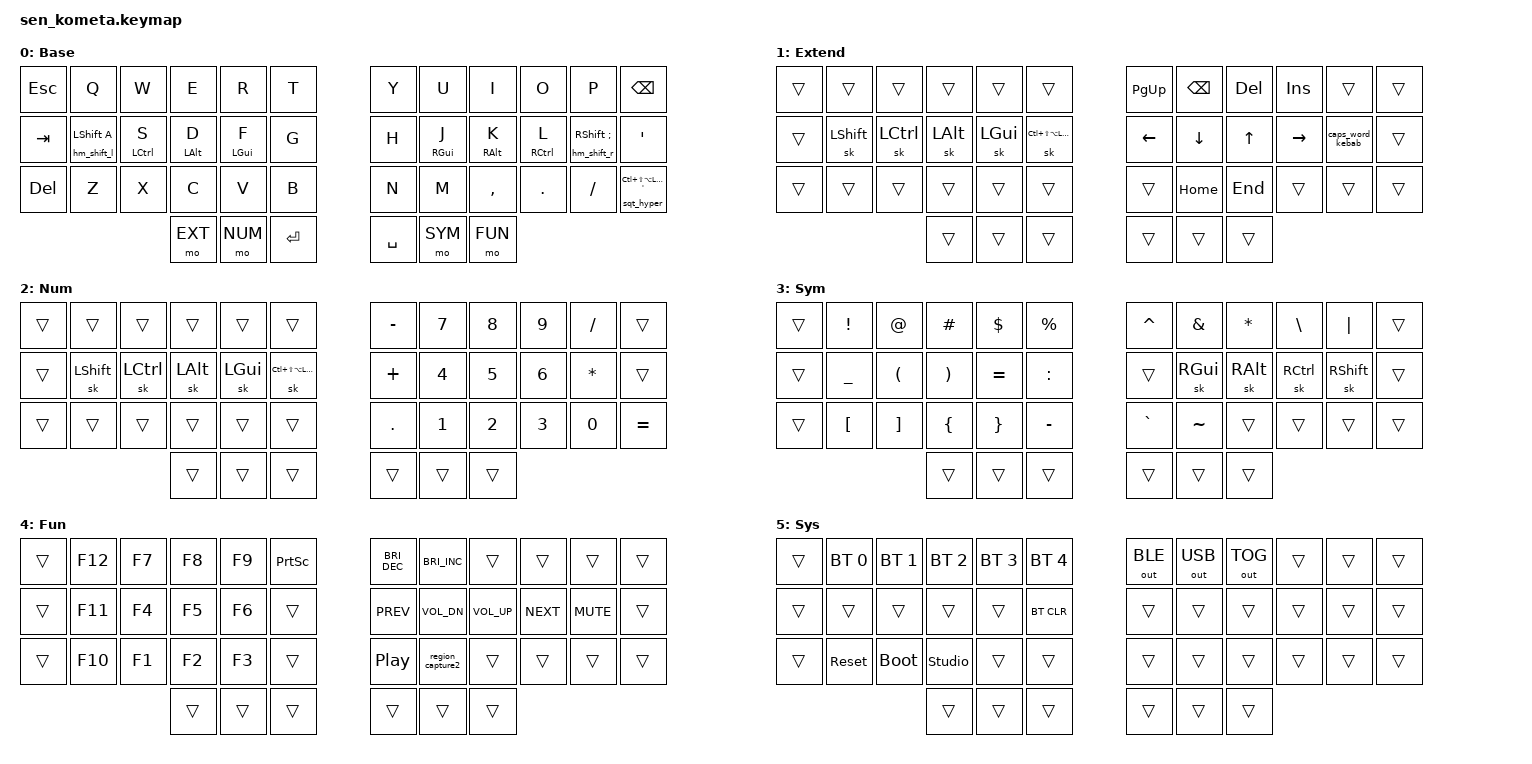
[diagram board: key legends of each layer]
/*
 * Variant B — "seniply-core" (kometa, 42-key grid)
 *
 * Identical scheme to sen_totem.keymap; the kometa's outer column keeps
 * ESC / TAB / BSPC / SQT / DEL as bonus corner keys (this variant relies on
 * combos + the EXT layer for ESC/BSPC on the totem, so the corners here are
 * a comfort upgrade, not a divergence).
 */

#include <behaviors.dtsi>
#include <dt-bindings/zmk/keys.h>
#include <dt-bindings/zmk/bt.h>
#include <dt-bindings/zmk/outputs.h>

#include "zmk-helpers/helper.h"
#include "zmk-helpers/key-labels/42.h"

#define KEYS_L LT0 LT1 LT2 LT3 LT4 LT5 LM0 LM1 LM2 LM3 LM4 LM5 LB0 LB1 LB2 LB3 LB4 LB5
#define KEYS_R RT0 RT1 RT2 RT3 RT4 RT5 RM0 RM1 RM2 RM3 RM4 RM5 RB0 RB1 RB2 RB3 RB4 RB5
#define KEYS_T LH2 LH1 LH0 RH0 RH1 RH2

#include "../includes/behaviours_homerow_mods.dtsi"
#include "../includes/behaviours_variants.dtsi"

#define BASE 0
#define EXT  1
#define NUM  2
#define SYM  3
#define FUN  4
#define SYS  5

#include "../includes/combos_variants.dtsi"

/ {
    conditional_layers {
        compatible = "zmk,conditional-layers";
        tri_layer {
            if-layers = <EXT SYM>;
            then-layer = <SYS>;
        };
    };

    keymap {
        compatible = "zmk,keymap";

        base_layer {
            display-name = "Base";
            label = "BASE";

            bindings = <
                &kp ESC   &kp Q                &kp W &kp E &kp R &kp T              &kp Y &kp U      &kp I      &kp O     &kp P        &kp BSPC
                &kp TAB   &hm_shift_l LSHFT A &hm_l LCTRL S &hm_l LALT D &hm_l LGUI F &kp G    &kp H &hm_r RGUI J &hm_r RALT K &hm_r RCTRL L &hm_shift_r RSHFT SEMICOLON &kp SQT
                &kp DEL   &kp Z &kp X &kp C &kp V &kp B                         &kp N &kp M  &kp COMMA &kp DOT &kp SLASH &sqt_hyper LC(LS(LA(LGUI))) SQT
                                    &mo EXT   &mo NUM   &kp RET     &kp SPACE    &mo SYM   &mo FUN
            >;
        };

        ext_layer {
            display-name = "Extend";
            label = "EXT";

            // one-shot mods left home row; nav + BSPC/DEL/INS right
            bindings = <
                &trans  &trans  &trans  &trans  &trans  &trans                    &kp PG_UP   &kp BSPC      &kp DEL     &kp INS     &trans      &trans
                &trans  &sk LSHFT  &sk LCTRL  &sk LALT  &sk LGUI  &sk LC(LS(LA(LGUI)))  &kp LEFT     &kp DOWN      &kp UP      &kp RIGHT   &caps_word_kebab &trans
                &trans  &trans  &trans  &trans  &trans  &trans                    &trans      &kp HOME      &kp END     &trans      &trans      &trans
                                    &trans  &trans  &trans                          &trans    &trans      &trans
            >;
        };

        num_layer {
            display-name = "Num";
            label = "NUM";

            // numpad right (left thumb holds), one-shot mods left home row
            bindings = <
                &trans  &trans  &trans  &trans  &trans  &trans                    &kp MINUS   &kp N7      &kp N8      &kp N9      &kp SLASH   &trans
                &trans  &sk LSHFT  &sk LCTRL  &sk LALT  &sk LGUI  &sk LC(LS(LA(LGUI)))  &kp PLUS    &kp N4      &kp N5      &kp N6      &kp ASTRK   &trans
                &trans  &trans  &trans  &trans  &trans  &trans                    &kp DOT     &kp N1      &kp N2      &kp N3      &kp N0      &kp EQUAL
                                    &trans  &trans  &trans                          &trans    &trans      &trans
            >;
        };

        sym_layer {
            display-name = "Sym";
            label = "SYM";

            // symbols left (frequent _ ( ) = : on home), one-shot mods right
            bindings = <
                &trans  &kp EXCL   &kp AT     &kp HASH   &kp DLLR   &kp PRCNT              &kp CARET   &kp AMPS    &kp ASTRK   &kp BSLH    &kp PIPE    &trans
                &trans  &kp UNDER  &kp LPAR   &kp RPAR   &kp EQUAL  &kp COLON              &trans      &sk RGUI    &sk RALT    &sk RCTRL   &sk RSHFT   &trans
                &trans  &kp LBKT   &kp RBKT   &kp LBRC   &kp RBRC   &kp MINUS    &kp GRAVE   &kp TILDE   &trans      &trans      &trans      &trans
                                    &trans  &trans  &trans                          &trans    &trans      &trans
            >;
        };

        fun_layer {
            display-name = "Fun";
            label = "FUN";

            // F-keys left, media right
            bindings = <
                &trans  &kp F12   &kp F7   &kp F8   &kp F9   &kp PSCRN            &kp C_BRI_DEC   &kp C_BRI_INC  &trans   &trans    &trans    &trans
                &trans  &kp F11   &kp F4   &kp F5   &kp F6   &trans               &kp C_PREV      &kp C_VOL_DN   &kp C_VOL_UP  &kp C_NEXT   &kp C_MUTE   &trans
                &trans  &kp F10  &kp F1   &kp F2   &kp F3   &trans              &kp C_PP        &region_capture2  &trans   &trans    &trans    &trans
                                    &trans  &trans  &trans                          &trans    &trans      &trans
            >;
        };

        sys_layer {
            display-name = "Sys";
            label = "SYS";

            // hold EXT + SYM together: BT / outputs / reset / studio
            bindings = <
                &trans  &bt BT_SEL 0  &bt BT_SEL 1  &bt BT_SEL 2  &bt BT_SEL 3  &bt BT_SEL 4          &out OUT_BLE    &out OUT_USB    &out OUT_TOG    &trans  &trans  &trans
                &trans  &trans        &trans        &trans        &trans        &bt BT_CLR           &trans          &trans          &trans          &trans  &trans  &trans
                &trans  &sys_reset    &bootloader   &studio_unlock &trans &trans     &trans          &trans          &trans          &trans  &trans  &trans
                                    &trans  &trans  &trans                          &trans          &trans          &trans
            >;
        };
    };
};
